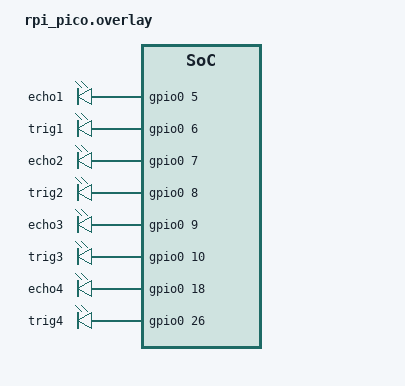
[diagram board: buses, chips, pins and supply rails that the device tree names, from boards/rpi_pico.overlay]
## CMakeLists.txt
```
# SPDX-License-Identifier: Apache-2.0

cmake_minimum_required(VERSION 3.20.0)
find_package(Zephyr REQUIRED HINTS $ENV{ZEPHYR_BASE})
project(blinky)

target_sources(app PRIVATE src/main.c)
target_sources(app PRIVATE src/ultrasonido.c)
```

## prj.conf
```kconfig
CONFIG_GPIO=y
CONFIG_CBPRINTF_FP_SUPPORT=y
```

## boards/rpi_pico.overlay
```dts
/ {
  
  aliases {
    echo1 = &echo1;
    trig1 = &trig1;
    echo2 = &echo2;
    trig2 = &trig2;
    echo3 = &echo3;
    trig3 = &trig3;
    echo4 = &echo4;
    trig4 = &trig4;
  };
  /* Creando nodo para GPIO específico */
  my_leds_node {
    compatible = "gpio-leds";
    echo1: echo1 {
      gpios = <&gpio0 5 GPIO_ACTIVE_HIGH>;
    };
    trig1: trig1 {
      gpios = <&gpio0 6 GPIO_ACTIVE_HIGH>;
    };
    echo2: echo2 {
      gpios = <&gpio0 7 GPIO_ACTIVE_HIGH>;
    };
    trig2: trig2 {
      gpios = <&gpio0 8 GPIO_ACTIVE_HIGH>;
    };
    echo3: echo3 {
      gpios = <&gpio0 9 GPIO_ACTIVE_HIGH>;
    };
    trig3: trig3 {
      gpios = <&gpio0 10 GPIO_ACTIVE_HIGH>;
    };
    echo4: echo4 {
      gpios = <&gpio0 18 GPIO_ACTIVE_HIGH>;
    };
    trig4: trig4 {
      gpios = <&gpio0 26 GPIO_ACTIVE_HIGH>;
    };
  };
};

	
	
```

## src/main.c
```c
/*
 * Copyright (c) 2016 Intel Corporation
 *
 * SPDX-License-Identifier: Apache-2.0
 */

#include <zephyr/kernel.h>
#include <zephyr/drivers/gpio.h>

/* 1000 msec = 1 sec */
#define SLEEP_TIME_MS   1000

/* The devicetree node identifier for the "led0" alias. */
#define LED0_NODE DT_ALIAS(led1)

/*
 * A build error on this line means your board is unsupported.
 * See the sample documentation for information on how to fix this.
 */
static const struct gpio_dt_spec led = GPIO_DT_SPEC_GET(LED0_NODE, gpios);

void main(void)
{
	int ret;

	if (!device_is_ready(led.port)) {
		return;
	}

	ret = gpio_pin_configure_dt(&led, GPIO_OUTPUT_ACTIVE);
	if (ret < 0) {
		return;
	}

	while (1) {
		ret = gpio_pin_toggle_dt(&led);
		if (ret < 0) {
			return;
		}
		k_msleep(SLEEP_TIME_MS);
	}
}
```
